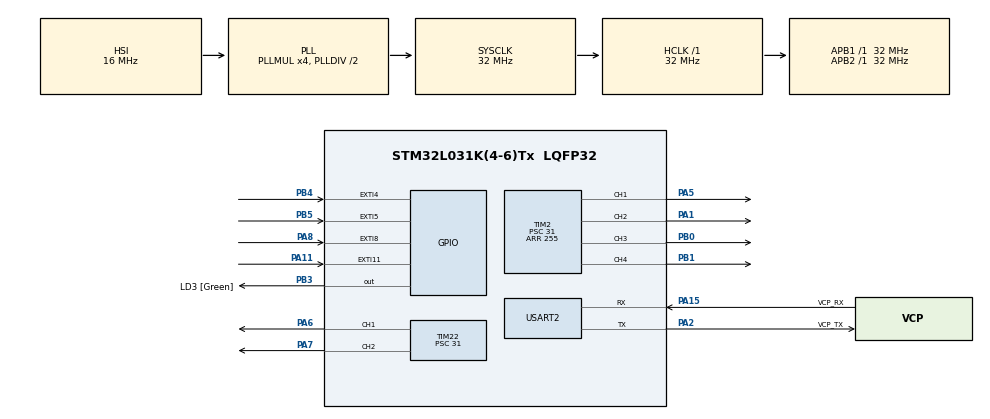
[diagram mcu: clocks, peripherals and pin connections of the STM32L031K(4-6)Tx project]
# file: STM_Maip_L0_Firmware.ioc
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Mcu.Family=STM32L0
Mcu.Name=STM32L031K(4-6)Tx
Mcu.Package=LQFP32
NVIC.EXTI4_15_IRQn=true\:0\:0\:false\:false\:true\:true\:true\:true
NVIC.USART2_IRQn=true\:0\:0\:false\:false\:true\:true\:true\:true
PA1.Signal=S_TIM2_CH2
PA11.GPIO_ModeDefaultEXTI=GPIO_MODE_IT_RISING_FALLING
PA11.Signal=GPXTI11
PA13.GPIO_Label=TMS
PA13.Signal=SYS_SWDIO
PA14.GPIO_Label=TCK
PA14.Signal=SYS_SWCLK
PA15.GPIO_Label=VCP_RX
PA15.Mode=Asynchronous
PA15.Signal=USART2_RX
PA2.GPIO_Label=VCP_TX
PA2.Mode=Asynchronous
PA2.Signal=USART2_TX
PA5.Signal=S_TIM2_CH1
PA6.Signal=S_TIM22_CH1
PA7.Signal=S_TIM22_CH2
PA8.GPIO_ModeDefaultEXTI=GPIO_MODE_IT_RISING_FALLING
PA8.Signal=GPXTI8
PB0.Signal=S_TIM2_CH3
PB1.Signal=S_TIM2_CH4
PB3.GPIO_Label=LD3 [Green]
PB3.Signal=GPIO_Output
PB4.GPIO_ModeDefaultEXTI=GPIO_MODE_IT_RISING_FALLING
PB4.Signal=GPXTI4
PB5.GPIO_ModeDefaultEXTI=GPIO_MODE_IT_RISING_FALLING
PB5.Signal=GPXTI5
PC14-OSC32_IN.Signal=RCC_OSC32_IN
PC15-OSC32_OUT.Signal=RCC_OSC32_OUT
ProjectManager.HeapSize=0x200
ProjectManager.StackSize=0x400
ProjectManager.TargetToolchain=STM32CubeIDE
RCC.AHBFreq_Value=32000000
RCC.APB1Freq_Value=32000000
RCC.APB1TimFreq_Value=32000000
RCC.APB2Freq_Value=32000000
RCC.APB2TimFreq_Value=32000000
RCC.HCLKFreq_Value=32000000
RCC.HSE_VALUE=8000000
RCC.HSI16_VALUE=16000000
RCC.HSI48_VALUE=48000000
RCC.HSI_VALUE=16000000
RCC.LSE_VALUE=32768
RCC.MSI_VALUE=2097000
RCC.PLLMUL=RCC_PLLMUL_4
RCC.SYSCLKFreq_VALUE=32000000
RCC.SYSCLKSource=RCC_SYSCLKSOURCE_PLLCLK
RCC.VCOOutputFreq_Value=64000000
SH.S_TIM22_CH1.0=TIM22_CH1,PWM Generation1 CH1
SH.S_TIM22_CH2.0=TIM22_CH2,PWM Generation2 CH2
SH.S_TIM2_CH1.0=TIM2_CH1,PWM Generation1 CH1
SH.S_TIM2_CH2.0=TIM2_CH2,PWM Generation2 CH2
SH.S_TIM2_CH3.0=TIM2_CH3,PWM Generation3 CH3
SH.S_TIM2_CH4.0=TIM2_CH4,PWM Generation4 CH4
TIM2.AutoReloadPreload=TIM_AUTORELOAD_PRELOAD_ENABLE
TIM2.Channel-PWM\ Generation1\ CH1=TIM_CHANNEL_1
TIM2.Channel-PWM\ Generation2\ CH2=TIM_CHANNEL_2
TIM2.Channel-PWM\ Generation3\ CH3=TIM_CHANNEL_3
TIM2.Channel-PWM\ Generation4\ CH4=TIM_CHANNEL_4
TIM2.Period=255
TIM2.Prescaler=31
TIM22.AutoReloadPreload=TIM_AUTORELOAD_PRELOAD_ENABLE
TIM22.Channel-PWM\ Generation1\ CH1=TIM_CHANNEL_1
TIM22.Channel-PWM\ Generation2\ CH2=TIM_CHANNEL_2
TIM22.Period=255
TIM22.Prescaler=31
USART2.VirtualMode-Asynchronous=VM_ASYNC
VP_TIM2_VS_ClockSourceINT.Mode=Internal
board=NUCLEO-L031K6

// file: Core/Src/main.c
/* USER CODE BEGIN Header */
/**
  ******************************************************************************
  * @file           : main.c
  * @brief          : Main program body
  ******************************************************************************
  * @attention
  *
  * Copyright (c) 2025 STMicroelectronics.
  * All rights reserved.
  *
  * This software is licensed under terms that can be found in the LICENSE file
  * in the root directory of this software component.
  * If no LICENSE file comes with this software, it is provided AS-IS.
  *
  ******************************************************************************
  */
/* USER CODE END Header */
#include "main.h"

/* USER CODE BEGIN Includes */

#include <string.h>
#include <stdbool.h>
#include <stdlib.h>
#include <stdio.h>

/* USER CODE END Includes */

/* USER CODE BEGIN PD */

#define RX_BUFFER_SIZE 64

/* USER CODE END PD */

TIM_HandleTypeDef htim2;
TIM_HandleTypeDef htim22;

UART_HandleTypeDef huart2;

/* USER CODE BEGIN PV */

bool limit_switch_state[4] = {false, false, false, false};
int16_t motorsPWM[3] = {0, 0, 0};

// UART buffers e flags
static uint8_t rx_byte;
static uint8_t rx_buffer[RX_BUFFER_SIZE];
static volatile uint8_t rx_index = 0;
static volatile bool message_ready = false;

/* USER CODE END PV */

void SystemClock_Config(void);
static void MX_GPIO_Init(void);
static void MX_TIM2_Init(void);
static void MX_TIM22_Init(void);
static void MX_USART2_UART_Init(void);
/* USER CODE BEGIN PFP */

void processCommand(const char *cmd);
void computeMotors();
void send_limit_switch_state(void);

/* USER CODE END PFP */

/* USER CODE BEGIN 0 */

void HAL_UART_RxCpltCallback(UART_HandleTypeDef *huart)
{
    if (huart->Instance == USART2)
    {
        if (rx_byte == '\n' || rx_byte == '\r')  // Detectou fim da mensagem
        {
            rx_buffer[rx_index] = '\0'; // Finaliza string
            rx_index = 0;               // Reinicia índice

            processCommand(rx_buffer);
        }
        else
        {
            // Adiciona ao buffer se couber
            if (rx_index < RX_BUFFER_SIZE - 1)
            {
                rx_buffer[rx_index++] = rx_byte;
            }
        }

        HAL_UART_Receive_IT(&huart2, &rx_byte, sizeof(rx_byte));
    }
}

void send_limit_switch_state(void)
{
    char msg[10];

    snprintf(msg, sizeof(msg),
             "%d %d %d %d\n",
             limit_switch_state[0],
             limit_switch_state[1],
             limit_switch_state[2],
             limit_switch_state[3]);

    HAL_UART_Transmit(&huart2, (uint8_t*)msg, strlen(msg), HAL_MAX_DELAY);
}

void processCommand(const char *cmd)
{
	HAL_GPIO_TogglePin(LD3_GPIO_Port, LD3_Pin);

	if(cmd[0] == 'm'){
		char *token = strtok(cmd, " ");
		char _ = token[0];
		for (int i = 0; i < 3; i++) {
		   token = strtok(NULL, " ");
		   motorsPWM[i] = (int16_t)atoi(token);
		}
	}
}

void computeMotors(){
	int pwm_positive = motorsPWM[0];
	int pwm_negative = 0;
	if(pwm_positive < 0)
	{
		pwm_positive = 0;
		pwm_negative = abs(motorsPWM[0]);
	}

	if(pwm_positive > 255) pwm_positive = 255;
	if(pwm_negative > 255) pwm_negative = 255;

	if(pwm_positive > 0 && limit_switch_state[0] == 1){
		pwm_positive = 0;
		motorsPWM[0] = 0;
	}
	if(pwm_negative > 0 && limit_switch_state[1] == 1){
		pwm_positive = 0;
		motorsPWM[0] = 0;
	}
	TIM2->CCR1 = pwm_negative;
	TIM2->CCR2 = pwm_positive;

	pwm_positive = motorsPWM[1];
	pwm_negative = 0;
	if(pwm_positive < 0)
	{
		pwm_positive = 0;
		pwm_negative = abs(motorsPWM[1]);
	}

	if(pwm_positive > 255) pwm_positive = 255;
	if(pwm_negative > 255) pwm_negative = 255;

	if(pwm_positive > 0 && limit_switch_state[3] == 1){
		pwm_positive = 0;
		motorsPWM[1] = 0;
	}
	if(pwm_negative > 0 && limit_switch_state[2] == 1){
		pwm_positive = 0;
		motorsPWM[1] = 0;
	}

	TIM22->CCR1 = pwm_positive;
	TIM22->CCR2 = pwm_negative;

	pwm_positive = motorsPWM[2];
	pwm_negative = 0;
	if(pwm_positive < 0)
	{
		pwm_positive = 0;
		pwm_negative = abs(motorsPWM[2]);
	}

	if(pwm_positive > 255) pwm_positive = 255;
	if(pwm_negative > 255) pwm_negative = 255;

	TIM2->CCR3 = pwm_positive;
	TIM2->CCR4 = pwm_negative;
}

/* USER CODE END 0 */

int main(void)
{

  /* MCU Configuration--------------------------------------------------------*/

  /* Reset of all peripherals, Initializes the Flash interface and the Systick. */
  HAL_Init();

  /* Configure the system clock */
  SystemClock_Config();

  /* Initialize all configured peripherals */
  MX_GPIO_Init();
  MX_TIM2_Init();
  MX_TIM22_Init();
  MX_USART2_UART_Init();
  /* USER CODE BEGIN 2 */

  HAL_UART_Receive_IT(&huart2, &rx_byte, sizeof(rx_byte));

  /* USER CODE END 2 */

  /* Infinite loop */
  /* USER CODE BEGIN WHILE */
  uint64_t time_last_msg_send = HAL_GetTick();
  while (1)
  {
    /* USER CODE END WHILE */

    /* USER CODE BEGIN 3 */
	computeMotors();
	if(HAL_GetTick() - time_last_msg_send > 500){
		send_limit_switch_state();
	}
  }
  /* USER CODE END 3 */
}

void SystemClock_Config(void)
{
  RCC_OscInitTypeDef RCC_OscInitStruct = {0};
  RCC_ClkInitTypeDef RCC_ClkInitStruct = {0};
  RCC_PeriphCLKInitTypeDef PeriphClkInit = {0};

  /** Configure the main internal regulator output voltage
  */
  __HAL_PWR_VOLTAGESCALING_CONFIG(PWR_REGULATOR_VOLTAGE_SCALE1);

  /** Initializes the RCC Oscillators according to the specified parameters
  * in the RCC_OscInitTypeDef structure.
  */
  RCC_OscInitStruct.OscillatorType = RCC_OSCILLATORTYPE_HSI;
  RCC_OscInitStruct.HSIState = RCC_HSI_ON;
  RCC_OscInitStruct.HSICalibrationValue = RCC_HSICALIBRATION_DEFAULT;
  RCC_OscInitStruct.PLL.PLLState = RCC_PLL_ON;
  RCC_OscInitStruct.PLL.PLLSource = RCC_PLLSOURCE_HSI;
  RCC_OscInitStruct.PLL.PLLMUL = RCC_PLLMUL_4;
  RCC_OscInitStruct.PLL.PLLDIV = RCC_PLLDIV_2;
  if (HAL_RCC_OscConfig(&RCC_OscInitStruct) != HAL_OK)
  {
    Error_Handler();
  }

  /** Initializes the CPU, AHB and APB buses clocks
  */
  RCC_ClkInitStruct.ClockType = RCC_CLOCKTYPE_HCLK|RCC_CLOCKTYPE_SYSCLK
                              |RCC_CLOCKTYPE_PCLK1|RCC_CLOCKTYPE_PCLK2;
  RCC_ClkInitStruct.SYSCLKSource = RCC_SYSCLKSOURCE_PLLCLK;
  RCC_ClkInitStruct.AHBCLKDivider = RCC_SYSCLK_DIV1;
  RCC_ClkInitStruct.APB1CLKDivider = RCC_HCLK_DIV1;
  RCC_ClkInitStruct.APB2CLKDivider = RCC_HCLK_DIV1;

  if (HAL_RCC_ClockConfig(&RCC_ClkInitStruct, FLASH_LATENCY_1) != HAL_OK)
  {
    Error_Handler();
  }
  PeriphClkInit.PeriphClockSelection = RCC_PERIPHCLK_USART2;
  PeriphClkInit.Usart2ClockSelection = RCC_USART2CLKSOURCE_PCLK1;
  if (HAL_RCCEx_PeriphCLKConfig(&PeriphClkInit) != HAL_OK)
  {
    Error_Handler();
  }
}

static void MX_TIM2_Init(void)
{

  TIM_ClockConfigTypeDef sClockSourceConfig = {0};
  TIM_MasterConfigTypeDef sMasterConfig = {0};
  TIM_OC_InitTypeDef sConfigOC = {0};

  htim2.Instance = TIM2;
  htim2.Init.Prescaler = 31;
  htim2.Init.CounterMode = TIM_COUNTERMODE_UP;
  htim2.Init.Period = 255;
  htim2.Init.ClockDivision = TIM_CLOCKDIVISION_DIV1;
  htim2.Init.AutoReloadPreload = TIM_AUTORELOAD_PRELOAD_ENABLE;
  if (HAL_TIM_Base_Init(&htim2) != HAL_OK)
  {
    Error_Handler();
  }
  sClockSourceConfig.ClockSource = TIM_CLOCKSOURCE_INTERNAL;
  if (HAL_TIM_ConfigClockSource(&htim2, &sClockSourceConfig) != HAL_OK)
  {
    Error_Handler();
  }
  if (HAL_TIM_PWM_Init(&htim2) != HAL_OK)
  {
    Error_Handler();
  }
  sMasterConfig.MasterOutputTrigger = TIM_TRGO_RESET;
  sMasterConfig.MasterSlaveMode = TIM_MASTERSLAVEMODE_DISABLE;
  if (HAL_TIMEx_MasterConfigSynchronization(&htim2, &sMasterConfig) != HAL_OK)
  {
    Error_Handler();
  }
  sConfigOC.OCMode = TIM_OCMODE_PWM1;
  sConfigOC.Pulse = 0;
  sConfigOC.OCPolarity = TIM_OCPOLARITY_HIGH;
  sConfigOC.OCFastMode = TIM_OCFAST_DISABLE;
  if (HAL_TIM_PWM_ConfigChannel(&htim2, &sConfigOC, TIM_CHANNEL_1) != HAL_OK)
  {
    Error_Handler();
  }
  if (HAL_TIM_PWM_ConfigChannel(&htim2, &sConfigOC, TIM_CHANNEL_2) != HAL_OK)
  {
    Error_Handler();
  }
  if (HAL_TIM_PWM_ConfigChannel(&htim2, &sConfigOC, TIM_CHANNEL_3) != HAL_OK)
  {
    Error_Handler();
  }
  if (HAL_TIM_PWM_ConfigChannel(&htim2, &sConfigOC, TIM_CHANNEL_4) != HAL_OK)
  {
    Error_Handler();
  }
  /* USER CODE BEGIN TIM2_Init 2 */

  HAL_TIM_PWM_Start(&htim2, TIM_CHANNEL_1);
  HAL_TIM_PWM_Start(&htim2, TIM_CHANNEL_2);
  HAL_TIM_PWM_Start(&htim2, TIM_CHANNEL_3);
  HAL_TIM_PWM_Start(&htim2, TIM_CHANNEL_4);

  /* USER CODE END TIM2_Init 2 */
  HAL_TIM_MspPostInit(&htim2);

}

static void MX_TIM22_Init(void)
{

  TIM_MasterConfigTypeDef sMasterConfig = {0};
  TIM_OC_InitTypeDef sConfigOC = {0};

  htim22.Instance = TIM22;
  htim22.Init.Prescaler = 31;
  htim22.Init.CounterMode = TIM_COUNTERMODE_UP;
  htim22.Init.Period = 255;
  htim22.Init.ClockDivision = TIM_CLOCKDIVISION_DIV1;
  htim22.Init.AutoReloadPreload = TIM_AUTORELOAD_PRELOAD_ENABLE;
  if (HAL_TIM_PWM_Init(&htim22) != HAL_OK)
  {
    Error_Handler();
  }
  sMasterConfig.MasterOutputTrigger = TIM_TRGO_RESET;
  sMasterConfig.MasterSlaveMode = TIM_MASTERSLAVEMODE_DISABLE;
  if (HAL_TIMEx_MasterConfigSynchronization(&htim22, &sMasterConfig) != HAL_OK)
  {
    Error_Handler();
  }
  sConfigOC.OCMode = TIM_OCMODE_PWM1;
  sConfigOC.Pulse = 0;
  sConfigOC.OCPolarity = TIM_OCPOLARITY_HIGH;
  sConfigOC.OCFastMode = TIM_OCFAST_DISABLE;
  if (HAL_TIM_PWM_ConfigChannel(&htim22, &sConfigOC, TIM_CHANNEL_1) != HAL_OK)
  {
    Error_Handler();
  }
  if (HAL_TIM_PWM_ConfigChannel(&htim22, &sConfigOC, TIM_CHANNEL_2) != HAL_OK)
  {
    Error_Handler();
  }
  /* USER CODE BEGIN TIM22_Init 2 */

  HAL_TIM_PWM_Start(&htim22, TIM_CHANNEL_1);
  HAL_TIM_PWM_Start(&htim22, TIM_CHANNEL_2);

  /* USER CODE END TIM22_Init 2 */
  HAL_TIM_MspPostInit(&htim22);

}

static void MX_USART2_UART_Init(void)
{

  huart2.Instance = USART2;
  huart2.Init.BaudRate = 115200;
  huart2.Init.WordLength = UART_WORDLENGTH_8B;
  huart2.Init.StopBits = UART_STOPBITS_1;
  huart2.Init.Parity = UART_PARITY_NONE;
  huart2.Init.Mode = UART_MODE_TX_RX;
  huart2.Init.HwFlowCtl = UART_HWCONTROL_NONE;
  huart2.Init.OverSampling = UART_OVERSAMPLING_16;
  huart2.Init.OneBitSampling = UART_ONE_BIT_SAMPLE_DISABLE;
  huart2.AdvancedInit.AdvFeatureInit = UART_ADVFEATURE_NO_INIT;
  if (HAL_UART_Init(&huart2) != HAL_OK)
  {
    Error_Handler();
  }

}

static void MX_GPIO_Init(void)
{
  GPIO_InitTypeDef GPIO_InitStruct = {0};

  /* GPIO Ports Clock Enable */
  __HAL_RCC_GPIOC_CLK_ENABLE();
  __HAL_RCC_GPIOA_CLK_ENABLE();
  __HAL_RCC_GPIOB_CLK_ENABLE();

  /*Configure GPIO pin Output Level */
  HAL_GPIO_WritePin(LD3_GPIO_Port, LD3_Pin, GPIO_PIN_RESET);

  /*Configure GPIO pins : PA8 PA11 */
  GPIO_InitStruct.Pin = GPIO_PIN_8|GPIO_PIN_11;
  GPIO_InitStruct.Mode = GPIO_MODE_IT_RISING_FALLING;
  GPIO_InitStruct.Pull = GPIO_NOPULL;
  HAL_GPIO_Init(GPIOA, &GPIO_InitStruct);

  /*Configure GPIO pin : LD3_Pin */
  GPIO_InitStruct.Pin = LD3_Pin;
  GPIO_InitStruct.Mode = GPIO_MODE_OUTPUT_PP;
  GPIO_InitStruct.Pull = GPIO_NOPULL;
  GPIO_InitStruct.Speed = GPIO_SPEED_FREQ_LOW;
  HAL_GPIO_Init(LD3_GPIO_Port, &GPIO_InitStruct);

  /*Configure GPIO pins : PB4 PB5 */
  GPIO_InitStruct.Pin = GPIO_PIN_4|GPIO_PIN_5;
  GPIO_InitStruct.Mode = GPIO_MODE_IT_RISING_FALLING;
  GPIO_InitStruct.Pull = GPIO_NOPULL;
  HAL_GPIO_Init(GPIOB, &GPIO_InitStruct);

  /* EXTI interrupt init*/
  HAL_NVIC_SetPriority(EXTI4_15_IRQn, 0, 0);
  HAL_NVIC_EnableIRQ(EXTI4_15_IRQn);

/* USER CODE BEGIN MX_GPIO_Init_2 */
      limit_switch_state[0] = (HAL_GPIO_ReadPin(GPIOB, GPIO_PIN_4) == GPIO_PIN_RESET);
      limit_switch_state[1] = (HAL_GPIO_ReadPin(GPIOB, GPIO_PIN_5) == GPIO_PIN_RESET);
      limit_switch_state[2] = (HAL_GPIO_ReadPin(GPIOA, GPIO_PIN_8) == GPIO_PIN_RESET);
      limit_switch_state[3] = (HAL_GPIO_ReadPin(GPIOA, GPIO_PIN_11) == GPIO_PIN_RESET);
/* USER CODE END MX_GPIO_Init_2 */
}

/* USER CODE BEGIN 4 */

void HAL_GPIO_EXTI_Callback(uint16_t GPIO_Pin)
{
    switch (GPIO_Pin)
    {
        case GPIO_PIN_4:
            limit_switch_state[0] = (HAL_GPIO_ReadPin(GPIOB, GPIO_PIN_4) == GPIO_PIN_RESET);
            break;

        case GPIO_PIN_5:
            limit_switch_state[1] = (HAL_GPIO_ReadPin(GPIOB, GPIO_PIN_5) == GPIO_PIN_RESET);
            break;

        case GPIO_PIN_8:
            limit_switch_state[2] = (HAL_GPIO_ReadPin(GPIOA, GPIO_PIN_8) == GPIO_PIN_RESET);
            break;

        case GPIO_PIN_11:
            limit_switch_state[3] = (HAL_GPIO_ReadPin(GPIOA, GPIO_PIN_11) == GPIO_PIN_RESET);
            break;
    }
}

/* USER CODE END 4 */

void Error_Handler(void)
{
  __disable_irq();
  while (1)
  {
  }
}
